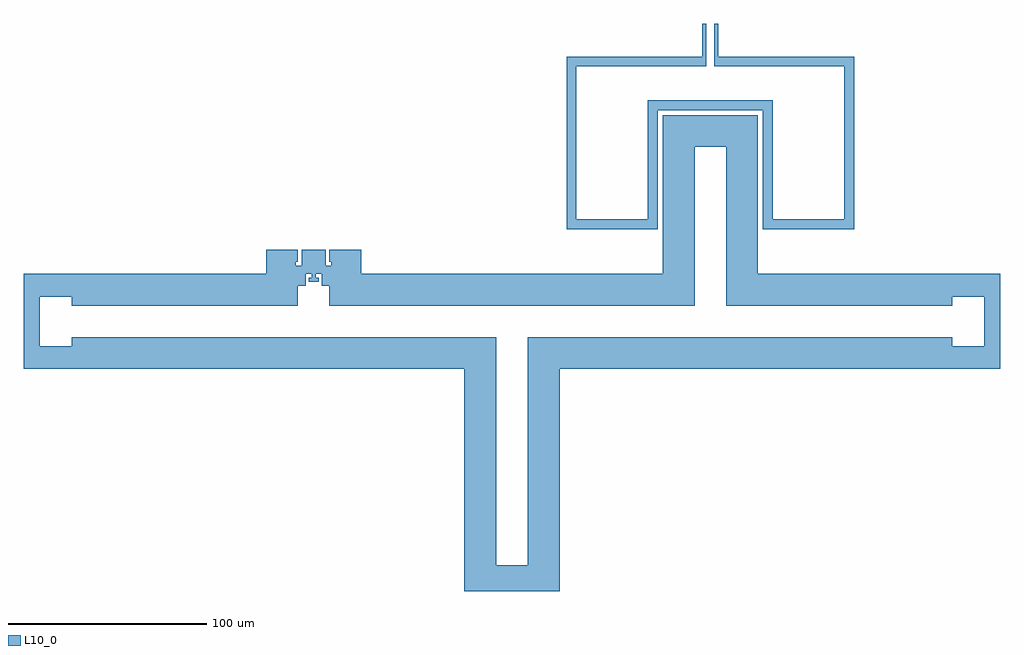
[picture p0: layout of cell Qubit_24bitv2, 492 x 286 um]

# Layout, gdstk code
import gdstk
lib = gdstk.Library(unit=1e-6, precision=1e-09)
def R(c, l, rs):  # rectangles x0, y0, x1, y1
    for r in rs: c.add(gdstk.rectangle(r[:2], r[2:], *l))
def P(c, l, *ps):  # polygons
    for p in ps: c.add(gdstk.Polygon(p, *l))
L10_0 = (10, 0)

qubit_24bitv2 = lib.new_cell('Qubit_24bitv2')
R(qubit_24bitv2, L10_0, [(-24,-136,-8,-128), (-8,-136,0,-123), (0,-136,8,-123), (8,-136,24,-128), (-24,-128,-8,-112), (8,-128,24,-112), (-24,-112,-8,-96), (8,-112,24,-96), (-24,-96,-8,-24), (8,-96,24,-24), (-246,-24,-238,24), (-238,-24,-222,-12.5), (-222,-24,-206,-8), (-206,-24,-32,-8), (-32,-24,-8,-8), (8,-24,32,-8), (32,-24,206,-8), (206,-24,222,-8), (222,-24,238,-12.5), (238,-24,246,24), (-222,8,-206,24), (-206,8,-158,24), (-158,8,-124,24), (-76,8,92,24), (108,8,158,24), (158,8,206,24), (206,8,222,24), (-238,12.5,-222,24), (222,12.5,238,24), (76,24,92,104), (108,24,124,104), (27.5,46.5,32.5,133.5), (32.5,46.5,68.5,51.5), (68.5,46.5,73.5,106.5), (126.5,46.5,131.5,106.5), (131.5,46.5,167.5,51.5), (167.5,46.5,172.5,133.5), (92,88,108,104), (68.5,106.5,131.5,111.5), (32.5,128.5,98,133.5), (102,128.5,167.5,133.5), (96,133.5,98,150), (102,133.5,104,150)])
P(qubit_24bitv2, L10_0, [(-124,8),(-108,8),(-108,18),(-104,18),(-104,24),(-101,24),(-101,22),(-102.5,22),(-102.5,20),(-97.5,20),(-97.5,22),(-99,22),(-99,24),(-96,24),(-96,18),(-92,18),(-92,8),(-76,8),(-76,36),(-92,36),(-92,30),(-91,30),(-91,28),(-94,28),(-94,36),(-106,36),(-106,28),(-109,28),(-109,30),(-108,30),(-108,36),(-124,36)])

lib.write_gds('Qubit_24bitv2.gds')
